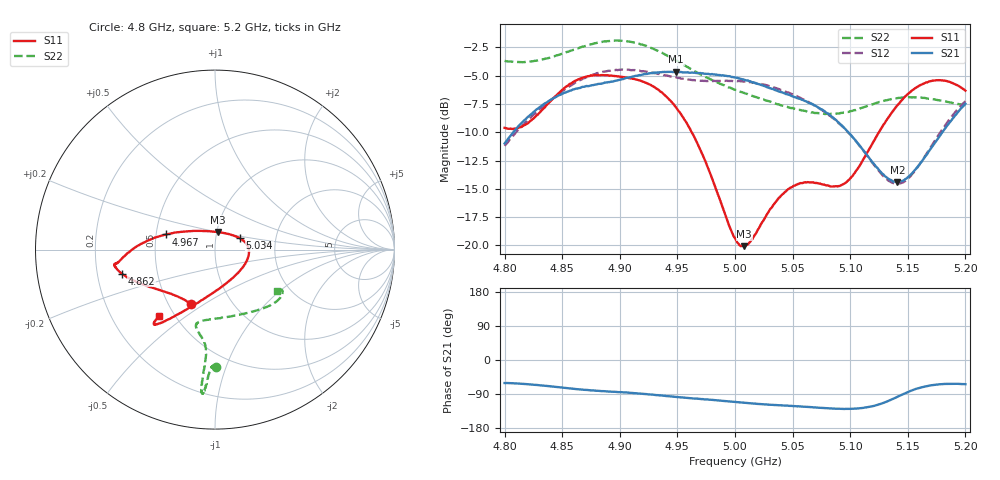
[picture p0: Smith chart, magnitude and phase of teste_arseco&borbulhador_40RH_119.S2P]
! Network Analyzer HP8722D
! Hewlett-Packard
! Data name: Linha & Wilkinson
! Saver's name: Rodrigo Anjos
! Comments: Teste da utilização de aquisição
! continua pelo VNA HP8722D
! Time and date: 15/4/2025 17:20
!  Frequency  S11  S21  S12  S22
# HZ  S  MA R 50
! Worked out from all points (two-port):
!   401 points, 4.8 GHz to 5.2 GHz, reference 50 ohm
!   highest |S21| = -4.64 dB at 4.949 GHz (marker M1); lowest = -14.4 dB at 5.141 GHz (marker M2)
!   |S21| within 3 dB of the highest: 4.832 GHz to 5.069 GHz (237.1 MHz wide, 4.79 % of centre); 5.198495 GHz to end of sweep
!   lowest |S11| = -20.1 dB at 5.008 GHz (marker M3), VSWR 1.22, Z = 50.7 + j10 ohm
!   |S11| at or under -10 dB: 4.962 GHz to 5.125 GHz (162.5 MHz wide, 3.22 % of centre)
!   |S22| runs from -8.4 to -1.9 dB; largest |S21 - S12| = 0.88
!   S11 on the Smith chart (normalised r, x): 4.8 GHz: 0.65, -0.44; 4.862 GHz: 0.31, -0.12; 4.967 GHz: 0.57, +0.10; 5.034 GHz: 1.31, +0.17; 5.2 GHz: 0.41, -0.40
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4.8e9  0.3306 -113.6  0.282 -60.8  0.2752 -174.9  0.654 -89.5
4.819e9  0.3444 -133.4  0.3646 -63.7  0.3526 -173.1  0.6485 -91.1
4.862e9  0.5358 -165.5  0.4935 -76.7  0.5274 -176.3  0.7401 -93.4
4.867e9  0.5494 -167.5  0.5013 -78.1  0.5414 -177.1  0.7546 -93.7
4.899e9  0.5583 -172.0  0.5381 -84.9  0.597 175.9  0.8038 -95.0
4.934e9  0.4859 -177.8  0.5817 -93.2  0.5733 172.0  0.7191 -95.5
4.949e9  0.4063 175.1  0.5861 -97.3  0.5537 172.3  0.656 -95.3
4.967e9  0.2848 162.7  0.5781 -101.9  0.5353 174.2  0.5816 -95.0
5e9  0.1075 107.5  0.5532 -110.8  0.5335 176.4  0.4871 -99.3
5.008e9  0.09909 80.2  0.54 -112.8  0.5299 176.3  0.4718 -101.0
5.015e9  0.1063 59.1  0.5263 -114.7  0.5239 176.0  0.458 -102.6
5.034e9  0.1524 24.5  0.4889 -118.8  0.4993 175.3  0.4256 -104.1
5.049e9  0.1803 8.3  0.4576 -121.1  0.4679 174.6  0.4047 -100.7
5.067e9  0.1897 -11.0  0.4215 -124.6  0.4207 174.0  0.3879 -92.0
5.085e9  0.182 -39.5  0.3682 -128.2  0.3654 173.7  0.3813 -78.6
5.097e9  0.1908 -64.8  0.3218 -129.1  0.3199 174.3  0.3886 -68.6
5.134e9  0.373 -115.8  0.1955 -107.1  0.192 -159.7  0.4413 -43.4
5.141e9  0.4164 -119.8  0.1905 -97.0  0.187 -148.8  0.4479 -40.2
5.153e9  0.4808 -124.8  0.2063 -80.9  0.2042 -130.2  0.4516 -35.9
5.17e9  0.5326 -128.4  0.2676 -66.8  0.2721 -112.9  0.4443 -32.1
5.184e9  0.5324 -129.7  0.3375 -63.0  0.349 -107.1  0.4313 -31.0
5.2e9  0.483 -130.2  0.4226 -64.0  0.4341 -106.0  0.4155 -33.3
